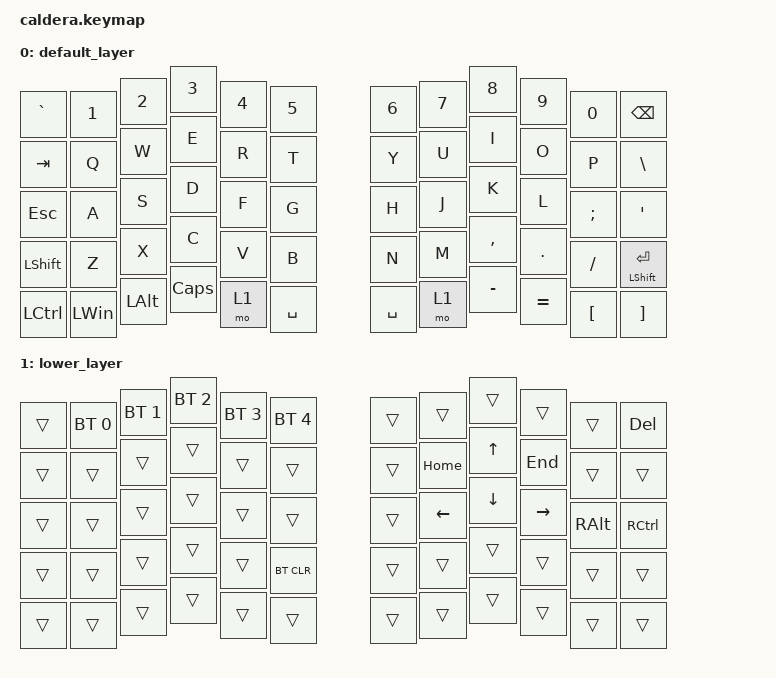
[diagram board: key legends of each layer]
#include <behaviors.dtsi>
#include <dt-bindings/zmk/keys.h>
#include <dt-bindings/zmk/bt.h>

// alter behaviors https://zmk.dev/docs/config#changing-devicetree-properties
&sl {release-after-ms = <1000>;}; // (default 1000) how long 'sticky layer' remains active
&sk {release-after-ms = <1000>;}; // (default 1000) how long 'sticky key'   remains active
&mt {tapping-term-ms = <200>;};   // (default 200)  how long to hold mod-tap key to switch to "hold" value

// unlock to grant ZMK studio access to make changes https://zmk.dev/docs/keymaps/behaviors/studio-unlock
// may be redundant with the variables set in caldera_left.conf and caldera_right.conf
// if not, try uncommenting this
//&studio_unlock {};

/ {
        keymap {
                compatible = "zmk,keymap";
                default_layer {
   // -------------------------------------------------           ----------------------------------------------
   // | `~    |   1!  |   2@  |   3#  |   4$  |   5%  |           |   6^  |   7&  |  8*  |  9(  |  0)  |  Back |
   // | Tab   |   Q   |   W   |   E   |   R   |   T   |           |   Y   |   U   |  I   |  O   |  P   |   \|  |
   // | Esc   |   A   |   S   |   D   |   F   |   G   |           |   H   |   J   |  K   |  L   |  ;:  |  '"   |
   // | Shift |   Z   |   X   |   C   |   V   |   B   |           |   N   |   M   |  ,<  |  .>  |  /?  | Shift(hold) Ret(tap) |
   // | Ctrl  |  Win  |  Alt  |  Caps |  Lyr  |  Spc  |           |  Spc  |  Lyr  |  -_  |  =+  |  [{  |  ]}   |
                        bindings = <
   &kp GRAVE  &kp N1    &kp N2    &kp N3    &kp N4  &kp N5        &kp N6     &kp N7  &kp N8     &kp N9     &kp N0    &kp BSPC
   &kp TAB    &kp Q     &kp W     &kp E     &kp R   &kp T         &kp Y      &kp U   &kp I      &kp O      &kp P     &kp BSLH
   &kp ESC    &kp A     &kp S     &kp D     &kp F   &kp G         &kp H      &kp J   &kp K      &kp L      &kp SEMI  &kp APOS
   &kp LSHFT  &kp Z     &kp X     &kp C     &kp V   &kp B         &kp N      &kp M   &kp COMMA  &kp DOT    &kp FSLH  &mt LSHFT RET 
   &kp LCTRL  &kp LWIN  &kp LALT  &kp CAPS  &mo 1   &kp SPACE     &kp SPACE  &mo 1   &kp MINUS  &kp EQUAL  &kp LBKT  &kp RBKT
                        >;
                };
                lower_layer {
   // -------------------------------------------------                      ----------------------------------------------
   // |       |  BT1  |  BT2  |  BT3  |  BT4  |  BT5  |                      |      |       |       |       |      | Del  |
   // |       |       |       |       |       |       |                      |      | Home  |   ↑   |  End  |      |      |
   // |       |       |       |       |       |       |                      |      |   ←   |   ↓   |   →   | Alt  | Ctrl |
   // |       |       |       |       |       | BTCLR |                      |      |       |       |       |      |      |
   // |       |       |       |       |       |       |                      |      |       |       |       |      |      |
                        bindings = <
   &trans &bt BT_SEL 0 &bt BT_SEL 1 &bt BT_SEL 2 &bt BT_SEL 3 &bt BT_SEL 4   &trans &trans   &trans   &trans    &trans   &kp DEL
   &trans &trans       &trans       &trans       &trans       &trans         &trans &kp HOME &kp UP   &kp END   &trans   &trans
   &trans &trans       &trans       &trans       &trans       &trans         &trans &kp LEFT &kp DOWN &kp RIGHT &kp RALT &kp RCTRL
   &trans &trans       &trans       &trans       &trans       &bt BT_CLR     &trans &trans   &trans   &trans    &trans   &trans
   &trans &trans       &trans       &trans       &trans       &trans         &trans &trans   &trans   &trans    &trans   &trans
                        >;
                };
                // extra layers ignored during ZMK builds but available for ZMK Studio-enabled builds
                extra_1 {
                    status = "reserved";
                };
                extra_2 {
                    status = "reserved";
                };
        };
};

// Original Caldera layout
// --------------------------------------     ---------------------------------------
// |   `  |  1  |  2  |  3  |  4  |  5  |     |  6  |  7  |  8  |  9  |  0  | BKSP  |
// | TAB  |  Q  |  W  |  E  |  R  |  T  |     |  Y  |  U  |  I  |  O  |  P  | \     |
// | CAPS |  A  |  S  |  D  |  F  |  G  |     |  H  |  J  |  K  |  L  |  ;  | ENT   |
// | SHFT |  Z  |  X  |  C  |  V  |  B  |     |  N  |  M  |  ,  |  .  |  /  | '     |
// | CTRL | ALT | GUI | SPC | SPC | SPC |     | SPC | LOW |  ←  |  ↓  |  ↑  | →     |
// --------------------------------------     ---------------------------------------
// |      | BT1 | BT2 | BT3 | BT4 | BT5 |     |     |     |     |     |     | BTCLR |
// |      |     |     |     |     |     |     |     |     |     |     |     |       |
// |      |     |     |  (  |  )  |     |     |     |  [  |  ]  |  -  |  =  |       |
// |      |     |     |     |     |     |     |     |     |     |     |     |       |

// https://zmk.dev/docs/keymaps
// https://zmk.dev/docs/keymaps/list-of-keycodes

// key behaviors
// &kp A = keypress A
// &mt LSHFT A = mod-tap (shift if held, A if tapped) https://zmk.dev/docs/keymaps/behaviors/hold-tap#mod-tap
// &sk LSHFT = sticky key (hold until another key is pressed)

// keycodes 
// LWIN=LGUI=Windows Button
// GRAVE=`("grave accent") APOS=apostrophe LPAR=( LBKT=[ DOT=.
// SPC=space FSLH=/ SEMI=; BSPC=backspace BSLH=backslash RET=enter
// &mkp = mouse key press, &mmv = mouse move, &msc = mouse scroll

// layers
// default_layer = layer 0, lower_one = layer 1
// &mo  1 = momentary layer 1 (activate layer 1 while key is pressed)
// &sl  1 =    sticky layer 1 (activate layer 1 until next key pressed, or until release-after-ms is elapsed) https://zmk.dev/docs/keymaps/behaviors/sticky-layer
// &tog 1 =    toggle layer 1 (activate layer 1 until pressed again)
// &trans =       transparent (pass key press down to next layer in stack)
// &none  =      no key press (do not pass to next active layer either)

// bluetooth
// &bt BT_SEL 0 = select 1st bluetooth profile (i.e. connect to 1st device) (0-4)
// &bt BTCLR    = clear selected profile (make sure to delete it from the computer too)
